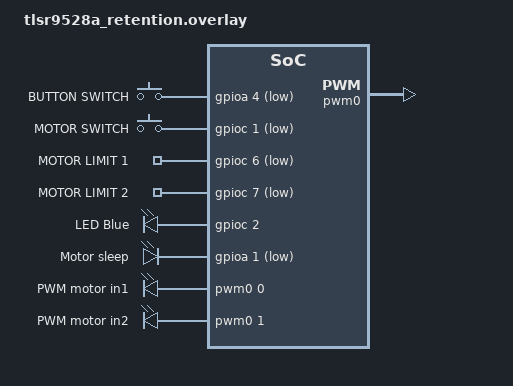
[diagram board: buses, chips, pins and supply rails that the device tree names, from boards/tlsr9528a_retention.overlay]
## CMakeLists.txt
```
#
#    Copyright (c) 2022-2026 Project CHIP Authors
#
#    Licensed under the Apache License, Version 2.0 (the "License");
#    you may not use this file except in compliance with the License.
#    You may obtain a copy of the License at
#
#        http://www.apache.org/licenses/LICENSE-2.0
#
#    Unless required by applicable law or agreed to in writing, software
#    distributed under the License is distributed on an "AS IS" BASIS,
#    WITHOUT WARRANTIES OR CONDITIONS OF ANY KIND, either express or implied.
#    See the License for the specific language governing permissions and
#    limitations under the License.
#

cmake_minimum_required(VERSION 3.20)

get_filename_component(CHIP_ROOT ${CMAKE_CURRENT_SOURCE_DIR}/third_party/connectedhomeip REALPATH)
get_filename_component(TELINK_COMMON ${CHIP_ROOT}/examples/platform/telink REALPATH)
get_filename_component(GEN_DIR ${CHIP_ROOT}/zzz_generated/ REALPATH)

include(${TELINK_COMMON}/common.cmake)
include(${CHIP_ROOT}/config/telink/app/enable-gnu-std.cmake)
include(${CHIP_ROOT}/src/app/chip_data_model.cmake)

project(chip-telink-light-switch-example)

target_include_directories(app PRIVATE
                           include
                           ${GEN_DIR}/app-common
                           ${GEN_DIR}/light-switch-app
                           ${TELINK_COMMON}/common/include
                           ${TELINK_COMMON}/util/include
                           ${TELINK_COMMON}/app/include
                           ${TELINK_COMMON}/zephyr_ext)

target_sources(app PRIVATE
               src/AppTask.cpp
               src/ZclCallbacks.cpp
               src/binding-handler.cpp
               ${CHIP_ROOT}/src/app/persistence/DeferredAttributePersistenceProvider.cpp
               ${TELINK_COMMON}/common/src/mainCommon.cpp
               ${TELINK_COMMON}/common/src/AppTaskCommon.cpp
               ${TELINK_COMMON}/util/src/LEDManager.cpp
               ${TELINK_COMMON}/util/src/ButtonManager.cpp
               ${TELINK_COMMON}/util/src/ThreadUtil.cpp
               ${TELINK_COMMON}/util/src/PWMManager.cpp
               ${TELINK_COMMON}/zephyr_ext/zephyr_key_matrix.c
               ${TELINK_COMMON}/zephyr_ext/zephyr_key_pool.c
               ${TELINK_COMMON}/zephyr_ext/zephyr_led_pool.c
               ${TELINK_COMMON}/zephyr_ext/zephyr_pwm_pool.c
               ${TELINK_COMMON}/zephyr_ext/zephyr_ws2812.c
               ${TELINK_COMMON}/zephyr_ext/zephyr_pm_observer.c)

chip_configure_data_model(app
    ZAP_FILE ${CMAKE_CURRENT_SOURCE_DIR}/../light-switch-common/light-switch-app.zap
)

if(CONFIG_BOOTLOADER_MCUBOOT)
  target_sources(app PRIVATE ${TELINK_COMMON}/util/src/OTAUtil.cpp)
endif()

if (CONFIG_CHIP_PW_RPC)
  include(${TELINK_COMMON}/Rpc.cmake)
endif(CONFIG_CHIP_PW_RPC)

if(CONFIG_OPENTHREAD_SNTP_CLIENT)
  target_sources(app PRIVATE
                   ${TELINK_COMMON}/util/src/ThreadTimeSync.cpp)
endif()
```

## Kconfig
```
#
#    Copyright (c) 2023 Project CHIP Authors
#
#    Licensed under the Apache License, Version 2.0 (the "License");
#    you may not use this file except in compliance with the License.
#    You may obtain a copy of the License at
#
#        http://www.apache.org/licenses/LICENSE-2.0
#
#    Unless required by applicable law or agreed to in writing, software
#    distributed under the License is distributed on an "AS IS" BASIS,
#    WITHOUT WARRANTIES OR CONDITIONS OF ANY KIND, either express or implied.
#    See the License for the specific language governing permissions and
#    limitations under the License.
#
mainmenu "Matter Telink Light Switch Example Application"

config CHIP_ENABLE_GROUPCAST
	bool
	default y

rsource "../../../config/telink/chip-module/Kconfig.defaults"
source "Kconfig.zephyr"
```

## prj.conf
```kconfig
#
#    Copyright (c) 2022-2026 Project CHIP Authors
#
#    Licensed under the Apache License, Version 2.0 (the "License");
#    you may not use this file except in compliance with the License.
#    You may obtain a copy of the License at
#
#        http://www.apache.org/licenses/LICENSE-2.0
#
#    Unless required by applicable law or agreed to in writing, software
#    distributed under the License is distributed on an "AS IS" BASIS,
#    WITHOUT WARRANTIES OR CONDITIONS OF ANY KIND, either express or implied.
#    See the License for the specific language governing permissions and
#    limitations under the License.
#

# This sample uses Kconfig.defaults to set options common for all
# samples. This file should contain only options specific for this sample
# or overrides of default values.

# Enable CHIP
CONFIG_CHIP=y
CONFIG_STD_CPP20=y

# 32772 == 0x8004 (example light-switch-app)
CONFIG_CHIP_DEVICE_PRODUCT_ID=32772

# Bluetooth Low Energy configuration
CONFIG_BT_DEVICE_NAME="TelinkSwitch"

# Disable Matter OTA DFU
CONFIG_CHIP_OTA_REQUESTOR=n
CONFIG_CHIP_DFU_OVER_BT_SMP=n
CONFIG_CHIP_DFU_OVER_BT_SMP_BUILD=n
CONFIG_CHIP_DEVICE_SOFTWARE_VERSION=1

# Disable CHIP shell support
CONFIG_CHIP_LIB_SHELL=n

# Disable factory data support
CONFIG_CHIP_FACTORY_DATA=n
CONFIG_CHIP_FACTORY_DATA_BUILD=n
CONFIG_CHIP_FACTORY_DATA_MERGE_WITH_FIRMWARE=n
CONFIG_CHIP_CERTIFICATION_DECLARATION_STORAGE=n

# Enable Power Management
CONFIG_PM=y
# Enable ADC
CONFIG_ADC=y

# compress ota
CONFIG_COMPRESS_LZMA=n
CONFIG_LZMA=n

# ICD SETTING INFO
CONFIG_CHIP_ICD_SLOW_POLL_INTERVAL=7500
CONFIG_CHIP_ICD_FAST_POLLING_INTERVAL=200
CONFIG_CHIP_ICD_ACTIVE_MODE_THRESHOLD=300
CONFIG_CHIP_ICD_IDLE_MODE_DURATION=900

# Secure programming requires CONFIG_CHIP_FACTORY_DATA and
# CONFIG_CHIP_CERTIFICATION_DECLARATION_STORAGE to be enabled.
CONFIG_SECURE_PROGRAMMING=n

# Enable CHIP-ID via ble
CONFIG_EXPOSE_CHIP_ID_VIA_BLE=n

# Enable Deferred Store Attribute
CONFIG_DEFERRED_ATTR_STORAGE=n
```

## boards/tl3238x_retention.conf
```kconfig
# Disable Matter OTA DFU
CONFIG_CHIP_OTA_REQUESTOR=n
CONFIG_CHIP_DFU_OVER_BT_SMP=n
CONFIG_CHIP_DFU_OVER_BT_SMP_BUILD=n

# Enable ADC
CONFIG_ADC=y

# LZMA compression library support
CONFIG_LZMA=n
# Disable Telink-specific LZMA firmware decompression for bootloader
CONFIG_COMPRESS_LZMA=n
```

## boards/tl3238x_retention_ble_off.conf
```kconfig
# Fully disable BLE after Matter commissioning (one-way, RF handed to 802.15.4).
# Re-commissioning requires factory reset (device reboots).
CONFIG_CHIP_CONCURRENT_BLE_OFF_AFTER_COMMISSIONING=y
```

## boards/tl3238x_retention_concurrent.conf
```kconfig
# TL3238X Retention Concurrent Mode (Matter over Thread + BLE coexistence)
# This config enables BLE + 802.15.4 coexistence mode.
# Usage:
#   west build -p -b tl3238x_retention -d build_tl3238x_retention_concurrent -- \
#   -DCONF_FILE="prj.conf boards/tl3238x_retention_concurrent.conf" > build_tl3238x_retention_concurrent.log

# Enable concurrent mode (Matter over Thread + BLE)
CONFIG_CHIP_CONCURRENT_MODE=y
CONFIG_IEEE802154_TLX_BLE_COEXIST=y

# CONFIG_CHIP_DEVICE_SERIAL_NUMBER="TelinkLightSwitch-tl3238c"

# Disable Matter OTA DFU
CONFIG_CHIP_OTA_REQUESTOR=n
CONFIG_CHIP_DFU_OVER_BT_SMP=n
CONFIG_CHIP_DFU_OVER_BT_SMP_BUILD=n

# LZMA compression library support
# Keep LZMA library enabled for potential general compression needs
CONFIG_LZMA=n
# Disable Telink-specific LZMA firmware decompression for bootloader
CONFIG_COMPRESS_LZMA=n

# Enable ADC
CONFIG_ADC=y

#matter switch mode
# config NORMAL_MODE    0 independent matter mode
# ACTION_DUAL_MODE      1 matter action switch mode ,such as by button
# AUTO_SWITCH_DUAL_MODE 2 matter auto-switch mode ,such as by scan QR code.
CONFIG_DUAL_MODE=0
```

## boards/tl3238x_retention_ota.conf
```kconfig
# CONFIG_CHIP_DEVICE_SERIAL_NUMBER="TelinkLightSwitch-tl3238c"

# Disable Matter OTA DFU
CONFIG_CHIP_OTA_REQUESTOR=y
CONFIG_CHIP_DFU_OVER_BT_SMP=y
CONFIG_CHIP_DFU_OVER_BT_SMP_BUILD=y

# Enable ADC
CONFIG_ADC=y

# LZMA compression library support
CONFIG_LZMA=n
# Disable Telink-specific LZMA firmware decompression for bootloader
CONFIG_COMPRESS_LZMA=n

#matter switch mode
# config NORMAL_MODE    0 independent matter mode
# ACTION_DUAL_MODE      1 matter action switch mode ,such as by button
# AUTO_SWITCH_DUAL_MODE 2 matter auto-switch mode ,such as by scan QR code.
CONFIG_DUAL_MODE=0
```

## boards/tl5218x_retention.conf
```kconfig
# CONFIG_CHIP_DEVICE_SERIAL_NUMBER="TelinkLightSwitch-tl5218x"

# Disable Matter OTA DFU
CONFIG_CHIP_OTA_REQUESTOR=n
CONFIG_CHIP_DFU_OVER_BT_SMP=n
CONFIG_CHIP_DFU_OVER_BT_SMP_BUILD=n

# Enable ADC
CONFIG_ADC=n

# LZMA compression library support
CONFIG_LZMA=n
# Disable Telink-specific LZMA firmware decompression for bootloader
CONFIG_COMPRESS_LZMA=n

#matter switch mode
# config NORMAL_MODE    0 independent matter mode
# ACTION_DUAL_MODE      1 matter action switch mode ,such as by button
# AUTO_SWITCH_DUAL_MODE 2 matter auto-switch mode ,such as by scan QR code.
CONFIG_DUAL_MODE=0
```

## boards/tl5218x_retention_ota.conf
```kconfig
# CONFIG_CHIP_DEVICE_SERIAL_NUMBER="TelinkLightSwitch-tl5218x"

# Disable Matter OTA DFU
CONFIG_CHIP_OTA_REQUESTOR=y
CONFIG_CHIP_DFU_OVER_BT_SMP=y
CONFIG_CHIP_DFU_OVER_BT_SMP_BUILD=y

# Enable ADC
CONFIG_ADC=n

# LZMA compression library support
CONFIG_LZMA=n
# Disable Telink-specific LZMA firmware decompression for bootloader
CONFIG_COMPRESS_LZMA=n

#matter switch mode
# config NORMAL_MODE    0 independent matter mode
# ACTION_DUAL_MODE      1 matter action switch mode ,such as by button
# AUTO_SWITCH_DUAL_MODE 2 matter auto-switch mode ,such as by scan QR code.
CONFIG_DUAL_MODE=0
```

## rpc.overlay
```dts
#
#    Copyright (c) 2023 Project CHIP Authors
#
#    Licensed under the Apache License, Version 2.0 (the "License");
#    you may not use this file except in compliance with the License.
#    You may obtain a copy of the License at
#
#        http://www.apache.org/licenses/LICENSE-2.0
#
#    Unless required by applicable law or agreed to in writing, software
#    distributed under the License is distributed on an "AS IS" BASIS,
#    WITHOUT WARRANTIES OR CONDITIONS OF ANY KIND, either express or implied.
#    See the License for the specific language governing permissions and
#    limitations under the License.
#

# This file should be used as a configuration overlay to build Pigweed RPCs to
# light-switch-app.

# Enable Pigweed RPC
CONFIG_CHIP_PW_RPC=y

# Add support for C++17 to build Pigweed components
CONFIG_STD_CPP14=n
CONFIG_STD_CPP20=y

# Add support for Zephyr console component to use it for Pigweed console purposes
CONFIG_CONSOLE_SUBSYS=y
CONFIG_CONSOLE_GETCHAR=y
CONFIG_CONSOLE_PUTCHAR_BUFSIZE=256

# Disable features which may interfere with Pigweed HDLC transport
CONFIG_SHELL=n
CONFIG_OPENTHREAD_SHELL=n
CONFIG_BOOT_BANNER=n

# Configure Zephyr logger with defaults backends disabled as the app provides its own,
# based on Pigweed HDLC.
CONFIG_LOG=y
CONFIG_LOG_MODE_MINIMAL=n
CONFIG_LOG_MODE_IMMEDIATE=y
CONFIG_LOG_BACKEND_UART=n
CONFIG_LOG_BACKEND_RTT=n
CONFIG_LOG_OUTPUT=y

# Increase zephyr tty rx buffer
CONFIG_CONSOLE_GETCHAR_BUFSIZE=128
```

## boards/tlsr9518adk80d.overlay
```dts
&cpu0 {
	clock-frequency = <32000000>;
};
```

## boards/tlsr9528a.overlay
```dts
/ {
	aliases {
		/delete-property/ sw1;
		/delete-property/ sw2;
		/delete-property/ sw3;

		/delete-property/ pwm-led0;
		/delete-property/ pwm-led1;
		/delete-property/ pwm-led2;
		/delete-property/ pwm-led3;

		led0 = &led_blue;
		sw1 = &key_switch;
		motorsleep = &motor_sleep;
		motordetect = &motor_detect;
		pwmmotorin1 = &pwm_motor_1;
		pwmmotorin2 = &pwm_motor_2;
	};

	keys {
		/delete-node/ button_2;
		/delete-node/ button_3;
		/delete-node/ button_4;

		key_switch: button_switch {
			label = "BUTTON SWITCH";
			gpios = <&gpioa 4 (GPIO_ACTIVE_LOW | GPIO_PULL_UP)>;
		};
		motor_detect: motor_switch {
			label = "MOTOR SWITCH";
			gpios = <&gpioc 1 (GPIO_ACTIVE_LOW | GPIO_PULL_UP)>;
		};
	};

	leds {
		compatible = "gpio-leds";
		/delete-node/ led_blue;
		/delete-node/ led_green;
		/delete-node/ led_white;
		/delete-node/ led_red;

		led_blue: led_0 {
			gpios = <&gpioc 2 GPIO_ACTIVE_HIGH>;
			label = "LED Blue";
		};
		motor_sleep: io_sleep {
			gpios = <&gpioa 1 GPIO_ACTIVE_LOW>;
			label = "Motor sleep";
		};
	};

	pwm_leds {
		compatible = "pwm-leds";
		/delete-node/ pwm_led_0;
		/delete-node/ pwm_led_1;
		/delete-node/ pwm_led_2;
		/delete-node/ pwm_led_3;
		pwm_motor_1: pwm_in_0 {
			pwms = <&pwm0 0 PWM_MSEC(20) PWM_POLARITY_NORMAL>;
			label = "PWM motor in1";
		};
		pwm_motor_2: pwm_in_1 {
			pwms = <&pwm0 1 PWM_MSEC(20) PWM_POLARITY_NORMAL>;
			label = "PWM motor in2";
		};
    };
};

&pinctrl {
	/delete-node/ pwm_ch0_pd0_default;
	/delete-node/ pwm_ch1_pd1_default;
	/delete-node/ pwm_ch2_pe2_default;
	/delete-node/ pwm_ch3_pe0_default;

	pwm_ch0_pa2_default: pwm_ch0_pa2_default {
		pinmux = <B9x_PINMUX_SET(B9x_PORT_A, B9x_PIN_2, B92_FUNC_PWM0)>;
	};
	pwm_ch1_pa3_default: pwm_ch1_pa3_default {
		pinmux = <B9x_PINMUX_SET(B9x_PORT_A, B9x_PIN_3, B92_FUNC_PWM1)>;
	};
};

&pwm0 {
	pinctrl-0 = <&pwm_ch0_pa2_default &pwm_ch1_pa3_default>;
};

&gpioc {
	interrupts = <39 1>;
	status = "okay";
};

&gpioa {
	interrupts = <38 1>;
	status = "okay";
};

&gpiof {
	status = "disabled";
};
```

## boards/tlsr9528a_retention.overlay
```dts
/ {
	aliases {
		/delete-property/ sw1;
		/delete-property/ sw2;
		/delete-property/ sw3;
		led0 = &led_blue;
		sw1 = &key_switch;
		motorsleep = &motor_sleep;
		motordetect = &motor_detect;
		motorlimited1 = &motor_limited_1;
		motorlimited2 = &motor_limited_2;
		pwmmotorin1 = &pwm_motor_1;
		pwmmotorin2 = &pwm_motor_2;
	};

	keys {
		/delete-node/ button_2;
		/delete-node/ button_3;
		/delete-node/ button_4;

		key_switch: button_switch {
			label = "BUTTON SWITCH";
			gpios = <&gpioa 4 (GPIO_ACTIVE_LOW | GPIO_PULL_UP)>;
		};
		motor_detect: motor_switch {
			label = "MOTOR SWITCH";
			gpios = <&gpioc 1 (GPIO_ACTIVE_LOW| GPIO_PULL_DOWN)>;
		};
		motor_limited_1: motor_stop_1 {
			label = "MOTOR LIMIT 1";
			gpios = <&gpioc 6 (GPIO_ACTIVE_LOW)>;
		};
		motor_limited_2: motor_stop_2 {
			label = "MOTOR LIMIT 2";
			gpios = <&gpioc 7 (GPIO_ACTIVE_LOW)>;
		};
	};

	leds {
		compatible = "gpio-leds";
		led_blue: led_0 {
			gpios = <&gpioc 2 GPIO_ACTIVE_HIGH>;
			label = "LED Blue";
		};
		motor_sleep: io_sleep {
			gpios = <&gpioa 1 GPIO_ACTIVE_LOW>;
			label = "Motor sleep";
		};
	};

	pwm_leds {
		compatible = "pwm-leds";
		pwm_motor_1: pwm_in_0 {
			pwms = <&pwm0 0 PWM_MSEC(20) PWM_POLARITY_NORMAL>;
			label = "PWM motor in1";
		};
		pwm_motor_2: pwm_in_1 {
			pwms = <&pwm0 1 PWM_MSEC(20) PWM_POLARITY_NORMAL>;
			label = "PWM motor in2";
		};
    };
};

&pinctrl {
	pwm_ch0_pa2_default: pwm_ch0_pa2_default {
		pinmux = <B9x_PINMUX_SET(B9x_PORT_A, B9x_PIN_2, B92_FUNC_PWM0)>;
	};
	pwm_ch1_pa3_default: pwm_ch1_pa3_default {
		pinmux = <B9x_PINMUX_SET(B9x_PORT_A, B9x_PIN_3, B92_FUNC_PWM1)>;
	};
};

&pwm0 {
	status = "okay";
	pinctrl-0 = <&pwm_ch0_pa2_default &pwm_ch1_pa3_default>;
};

&gpioc {
	interrupts = <39 1>;
	status = "okay";
};

&gpioa {
	interrupts = <38 1>;
	status = "okay";
};

&gpiof {
	status = "disabled";
};
```

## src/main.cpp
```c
/*
 *
 *    Copyright (c) 2022 Project CHIP Authors
 *    All rights reserved.
 *
 *    Licensed under the Apache License, Version 2.0 (the "License");
 *    you may not use this file except in compliance with the License.
 *    You may obtain a copy of the License at
 *
 *        http://www.apache.org/licenses/LICENSE-2.0
 *
 *    Unless required by applicable law or agreed to in writing, software
 *    distributed under the License is distributed on an "AS IS" BASIS,
 *    WITHOUT WARRANTIES OR CONDITIONS OF ANY KIND, either express or implied.
 *    See the License for the specific language governing permissions and
 *    limitations under the License.
 */

#include "AppTask.h"

#include <lib/support/CHIPMem.h>
#include <platform/CHIPDeviceLayer.h>

#include <zephyr/kernel.h>

LOG_MODULE_REGISTER(app, CONFIG_CHIP_APP_LOG_LEVEL);

using namespace ::chip;
using namespace ::chip::Inet;
using namespace ::chip::DeviceLayer;

int main(void)
{
    CHIP_ERROR err = CHIP_NO_ERROR;

    err = chip::Platform::MemoryInit();
    if (err != CHIP_NO_ERROR)
    {
        LOG_ERR("MemoryInit fail");
        goto exit;
    }

    err = PlatformMgr().InitChipStack();
    if (err != CHIP_NO_ERROR)
    {
        LOG_ERR("InitChipStack fail");
        goto exit;
    }

    err = PlatformMgr().StartEventLoopTask();
    if (err != CHIP_NO_ERROR)
    {
        LOG_ERR("StartEventLoopTask fail");
        goto exit;
    }

    err = ThreadStackMgr().InitThreadStack();
    if (err != CHIP_NO_ERROR)
    {
        LOG_ERR("InitThreadStack fail");
        goto exit;
    }

#ifdef CONFIG_OPENTHREAD_MTD_SED
    err = ConnectivityMgr().SetThreadDeviceType(ConnectivityManager::kThreadDeviceType_SleepyEndDevice);
#elif CONFIG_OPENTHREAD_MTD
    err = ConnectivityMgr().SetThreadDeviceType(ConnectivityManager::kThreadDeviceType_MinimalEndDevice);
#else
    err = ConnectivityMgr().SetThreadDeviceType(ConnectivityManager::kThreadDeviceType_Router);
#endif
    if (err != CHIP_NO_ERROR)
    {
        LOG_ERR("SetThreadDeviceType fail");
        goto exit;
    }

    err = GetAppTask().StartApp();

exit:
    LOG_ERR("Exit err %" CHIP_ERROR_FORMAT, err.Format());
    return (err == CHIP_NO_ERROR) ? EXIT_SUCCESS : EXIT_FAILURE;
}
```

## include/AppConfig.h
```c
/*
 *
 *    Copyright (c) 2022-2023 Project CHIP Authors
 *    All rights reserved.
 *
 *    Licensed under the Apache License, Version 2.0 (the "License");
 *    you may not use this file except in compliance with the License.
 *    You may obtain a copy of the License at
 *
 *        http://www.apache.org/licenses/LICENSE-2.0
 *
 *    Unless required by applicable law or agreed to in writing, software
 *    distributed under the License is distributed on an "AS IS" BASIS,
 *    WITHOUT WARRANTIES OR CONDITIONS OF ANY KIND, either express or implied.
 *    See the License for the specific language governing permissions and
 *    limitations under the License.
 */

#pragma once

// ---- Light Switch Example App Config ----

#define APP_SET_NETWORK_COMM_ENDPOINT_SEC 0
```

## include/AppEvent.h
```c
/*
 *
 *    Copyright (c) 2022 Project CHIP Authors
 *    All rights reserved.
 *
 *    Licensed under the Apache License, Version 2.0 (the "License");
 *    you may not use this file except in compliance with the License.
 *    You may obtain a copy of the License at
 *
 *        http://www.apache.org/licenses/LICENSE-2.0
 *
 *    Unless required by applicable law or agreed to in writing, software
 *    distributed under the License is distributed on an "AS IS" BASIS,
 *    WITHOUT WARRANTIES OR CONDITIONS OF ANY KIND, either express or implied.
 *    See the License for the specific language governing permissions and
 *    limitations under the License.
 */

#pragma once

#include <cstdint>

struct AppEvent;
typedef void (*EventHandler)(AppEvent *);

class LEDWidget;

struct AppEvent
{
    enum AppEventTypes
    {
        kEventType_Button = 0,
        kEventType_Timer,
        kEventType_UpdateLedState,
        kEventType_IdentifyStart,
        kEventType_IdentifyStop,
        kEventType_Lighting,
        kEventType_Install,
    };

    uint16_t Type;

    union
    {
        struct
        {
            uint8_t Action;
        } ButtonEvent;
        struct
        {
            void * Context;
        } TimerEvent;
        struct
        {
            uint8_t Action;
            int32_t Actor;
        } LightingEvent;
        struct
        {
            LEDWidget * LedWidget;
        } UpdateLedStateEvent;
    };

    EventHandler Handler;
};
```

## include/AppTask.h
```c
/*
 *
 *    Copyright (c) 2022-2023 Project CHIP Authors
 *    All rights reserved.
 *
 *    Licensed under the Apache License, Version 2.0 (the "License");
 *    you may not use this file except in compliance with the License.
 *    You may obtain a copy of the License at
 *
 *        http://www.apache.org/licenses/LICENSE-2.0
 *
 *    Unless required by applicable law or agreed to in writing, software
 *    distributed under the License is distributed on an "AS IS" BASIS,
 *    WITHOUT WARRANTIES OR CONDITIONS OF ANY KIND, either express or implied.
 *    See the License for the specific language governing permissions and
 *    limitations under the License.
 */

#pragma once

#include "AppTaskCommon.h"

class AppTask : public AppTaskCommon
{
public:
    void UpdateClusterState();

private:
    friend AppTask & GetAppTask(void);
    friend class AppTaskCommon;

    CHIP_ERROR Init(void);

    static void SwitchActionEventHandler(AppEvent * aEvent);

    static AppTask sAppTask;
};

inline AppTask & GetAppTask(void)
{
    return AppTask::sAppTask;
}
```

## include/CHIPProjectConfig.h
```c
/*
 *
 *    Copyright (c) 2022 Project CHIP Authors
 *    All rights reserved.
 *
 *    Licensed under the Apache License, Version 2.0 (the "License");
 *    you may not use this file except in compliance with the License.
 *    You may obtain a copy of the License at
 *
 *        http://www.apache.org/licenses/LICENSE-2.0
 *
 *    Unless required by applicable law or agreed to in writing, software
 *    distributed under the License is distributed on an "AS IS" BASIS,
 *    WITHOUT WARRANTIES OR CONDITIONS OF ANY KIND, either express or implied.
 *    See the License for the specific language governing permissions and
 *    limitations under the License.
 */

/**
 *    @file
 *          Example project configuration file for CHIP.
 *
 *          This is a place to put application or project-specific overrides
 *          to the default configuration values for general CHIP features.
 *
 */

#pragma once

// Use a default pairing code if one hasn't been provisioned in flash.
#define CHIP_DEVICE_CONFIG_USE_TEST_SETUP_PIN_CODE 20202021
#define CHIP_DEVICE_CONFIG_USE_TEST_SETUP_DISCRIMINATOR 0xF00

/**
 * CHIP_SYSTEM_CONFIG_PACKETBUFFER_POOL_SIZE
 *
 * Reduce packet buffer pool size to 8 (default 15) to reduce ram consumption
 */
#define CHIP_SYSTEM_CONFIG_PACKETBUFFER_POOL_SIZE 0
```

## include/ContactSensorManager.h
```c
/*
 *
 *    Copyright (c) 2022 Project CHIP Authors
 *    All rights reserved.
 *
 *    Licensed under the Apache License, Version 2.0 (the "License");
 *    you may not use this file except in compliance with the License.
 *    You may obtain a copy of the License at
 *
 *        http://www.apache.org/licenses/LICENSE-2.0
 *
 *    Unless required by applicable law or agreed to in writing, software
 *    distributed under the License is distributed on an "AS IS" BASIS,
 *    WITHOUT WARRANTIES OR CONDITIONS OF ANY KIND, either express or implied.
 *    See the License for the specific language governing permissions and
 *    limitations under the License.
 */

#pragma once

#include <stdbool.h>
#include <stdint.h>

#include "AppEventCommon.h"

class ContactSensorManager
{
public:
    enum class Action : uint8_t
    {
        kSignalDetected = 0,
        kSignalLost,
        kInvalid
    };

    enum class State : uint8_t
    {
        kContactClosed = 0,
        kContactOpened,
        kInvalid
    };

    int Init();
    bool IsContactClosed();
    void InitiateAction(Action aAction);
    void setstate(State astatus);

    typedef void (*CallbackStateChanged)(State aState);
    void SetCallback(CallbackStateChanged aCallbackStateChanged);

    static void HandleAction(AppEvent * aEvent);

private:
    friend ContactSensorManager & ContactSensorMgr(void);
    State mState;
    CallbackStateChanged mCallbackStateChanged;
    static ContactSensorManager sContactSensor;
};

inline ContactSensorManager & ContactSensorMgr(void)
{
    return ContactSensorManager::sContactSensor;
}
```

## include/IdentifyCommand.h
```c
/*
 *
 *    Copyright (c) 2024 Project CHIP Authors
 *    All rights reserved.
 *
 *    Licensed under the Apache License, Version 2.0 (the "License");
 *    you may not use this file except in compliance with the License.
 *    You may obtain a copy of the License at
 *
 *        http://www.apache.org/licenses/LICENSE-2.0
 *
 *    Unless required by applicable law or agreed to in writing, software
 *    distributed under the License is distributed on an "AS IS" BASIS,
 *    WITHOUT WARRANTIES OR CONDITIONS OF ANY KIND, either express or implied.
 *    See the License for the specific language governing permissions and
 *    limitations under the License.
 */

#include "controller/InvokeInteraction.h"
#include "controller/ReadInteraction.h"
#include <app/clusters/bindings/BindingManager.h>

#if defined(CONFIG_CHIP_LIB_SHELL)
#include "lib/shell/Engine.h"
#include "lib/shell/commands/Help.h"
#endif // CONFIG_CHIP_LIB_SHELL

using namespace chip;
using namespace chip::app;
using namespace chip::app::Clusters;

#if defined(CONFIG_CHIP_LIB_SHELL)
using Shell::Engine;
using Shell::shell_command_t;
using Shell::streamer_get;
using Shell::streamer_printf;

Engine sShellSwitchIdentifySubCommands;
Engine sShellSwitchIdentifyReadSubCommands;
Engine sShellSwitchGroupsIdentifySubCommands;
#endif // CONFIG_CHIP_LIB_SHELL

void ProcessIdentifyUnicastBindingRead(BindingCommandData * data, const Binding::TableEntry & binding,
                                       OperationalDeviceProxy * peer_device)
{
    auto onSuccess = [](const ConcreteDataAttributePath & attributePath, const auto & dataResponse) {
        ChipLogProgress(NotSpecified, "Read Identify attribute succeeds");
    };

    auto onFailure = [](const ConcreteDataAttributePath * attributePath, CHIP_ERROR error) {
        ChipLogError(NotSpecified, "Read Identify attribute failed: %" CHIP_ERROR_FORMAT, error.Format());
    };

    VerifyOrDie(peer_device != nullptr && peer_device->ConnectionReady());

    switch (data->attributeId)
    {
    case Clusters::Identify::Attributes::AttributeList::Id:
        LogErrorOnFailure(Controller::ReadAttribute<Clusters::Identify::Attributes::AttributeList::TypeInfo>(
            peer_device->GetExchangeManager(), peer_device->GetSecureSession().Value(), binding.remote, onSuccess, onFailure));
        break;

    case Clusters::Identify::Attributes::IdentifyTime::Id:
        LogErrorOnFailure(Controller::ReadAttribute<Clusters::Identify::Attributes::IdentifyTime::TypeInfo>(
            peer_device->GetExchangeManager(), peer_device->GetSecureSession().Value(), binding.remote, onSuccess, onFailure));
        break;

    case Clusters::Identify::Attributes::IdentifyType::Id:
        LogErrorOnFailure(Controller::ReadAttribute<Clusters::Identify::Attributes::IdentifyType::TypeInfo>(
            peer_device->GetExchangeManager(), peer_device->GetSecureSession().Value(), binding.remote, onSuccess, onFailure));
        break;
    }
}

void ProcessIdentifyUnicastBindingCommand(BindingCommandData * data, const Binding::TableEntry & binding,
                                          OperationalDeviceProxy * peer_device)
{
    auto onSuccess = [](const ConcreteCommandPath & commandPath, const StatusIB & status, const auto & dataResponse) {
        ChipLogProgress(NotSpecified, "Identify command succeeds");
    };

    auto onFailure = [](CHIP_ERROR error) {
        ChipLogError(NotSpecified, "Identify command failed: %" CHIP_ERROR_FORMAT, error.Format());
    };

    VerifyOrDie(peer_device != nullptr && peer_device->ConnectionReady());

    Clusters::Identify::Commands::Identify::Type identifyCommand;
    Clusters::Identify::Commands::TriggerEffect::Type triggerEffectCommand;

    switch (data->commandId)
    {
    case Clusters::Identify::Commands::Identify::Id:
        identifyCommand.identifyTime = static_cast<uint16_t>(data->args[0]);
        LogErrorOnFailure(Controller::InvokeCommandRequest(peer_device->GetExchangeManager(),
                                                           peer_device->GetSecureSession().Value(), binding.remote, identifyCommand,
                                                           onSuccess, onFailure));
        break;

    case Clusters::Identify::Commands::TriggerEffect::Id:
        triggerEffectCommand.effectIdentifier = static_cast<Clusters::Identify::EffectIdentifierEnum>(data->args[0]);
        triggerEffectCommand.effectVariant    = static_cast<Clusters::Identify::EffectVariantEnum>(data->args[1]);
        LogErrorOnFailure(Controller::InvokeCommandRequest(peer_device->GetExchangeManager(),
                                                           peer_device->GetSecureSession().Value(), binding.remote,
                                                           triggerEffectCommand, onSuccess, onFailure));
        break;
    }
}

void ProcessIdentifyGroupBindingCommand(BindingCommandData * data, const Binding::TableEntry & binding)
{
    Messaging::ExchangeManager & exchangeMgr = Server::GetInstance().GetExchangeManager();

    Clusters::Identify::Commands::Identify::Type identifyCommand;
    Clusters::Identify::Commands::TriggerEffect::Type triggerEffectCommand;

    switch (data->commandId)
    {
    case Clusters::Identify::Commands::Identify::Id:
        identifyCommand.identifyTime = static_cast<uint16_t>(data->args[0]);
        LogErrorOnFailure(
            Controller::InvokeGroupCommandRequest(&exchangeMgr, binding.fabricIndex, binding.groupId, identifyCommand));
        break;

    case Clusters::Identify::Commands::TriggerEffect::Id:
        triggerEffectCommand.effectIdentifier = static_cast<Clusters::Identify::EffectIdentifierEnum>(data->args[0]);
        triggerEffectCommand.effectVariant    = static_cast<Clusters::Identify::EffectVariantEnum>(data->args[1]);
        LogErrorOnFailure(
            Controller::InvokeGroupCommandRequest(&exchangeMgr, binding.fabricIndex, binding.groupId, triggerEffectCommand));
        break;
    }
}

#if defined(CONFIG_CHIP_LIB_SHELL)
/********************************************************
 * Identify switch shell functions
 *********************************************************/

CHIP_ERROR IdentifyHelpHandler(int argc, char ** argv)
{
    sShellSwitchIdentifySubCommands.ForEachCommand(Shell::PrintCommandHelp, nullptr);
    return CHIP_NO_ERROR;
}

CHIP_ERROR IdentifySwitchCommandHandler(int argc, char ** argv)
{
    if (argc == 0)
    {
        return IdentifyHelpHandler(argc, argv);
    }

    return sShellSwitchIdentifySubCommands.ExecCommand(argc, argv);
}

CHIP_ERROR IdentifyCommandHandler(int argc, char ** argv)
{
    BindingCommandData * data = Platform::New<BindingCommandData>();
    data->commandId           = Clusters::Identify::Commands::Identify::Id;
    data->clusterId           = Clusters::Identify::Id;
    data->args[0]             = atoi(argv[0]);

    LogErrorOnFailure(DeviceLayer::PlatformMgr().ScheduleWork(SwitchWorkerFunction, reinterpret_cast<intptr_t>(data)));
    return CHIP_NO_ERROR;
}

CHIP_ERROR TriggerEffectSwitchCommandHandler(int argc, char ** argv)
{
    BindingCommandData * data = Platform::New<BindingCommandData>();
    data->commandId           = Clusters::Identify::Commands::TriggerEffect::Id;
    data->clusterId           = Clusters::Identify::Id;
    data->args[0]             = atoi(argv[0]);
    data->args[1]             = atoi(argv[1]);

    LogErrorOnFailure(DeviceLayer::PlatformMgr().ScheduleWork(SwitchWorkerFunction, reinterpret_cast<intptr_t>(data)));
    return CHIP_NO_ERROR;
}

/********************************************************
 * Identify Read switch shell functions
 *********************************************************/

CHIP_ERROR IdentifyReadHelpHandler(int argc, char ** argv)
{
    sShellSwitchIdentifyReadSubCommands.ForEachCommand(Shell::PrintCommandHelp, nullptr);
    return CHIP_NO_ERROR;
}

CHIP_ERROR IdentifyRead(int argc, char ** argv)
{
    if (argc == 0)
    {
        return IdentifyReadHelpHandler(argc, argv);
    }

    return sShellSwitchIdentifyReadSubCommands.ExecCommand(argc, argv);
}

CHIP_ERROR IdentifyReadAttributeList(int argc, char ** argv)
{
    BindingCommandData * data = Platform::New<BindingCommandData>();
    data->attributeId         = Clusters::Identify::Attributes::AttributeList::Id;
    data->clusterId           = Clusters::Identify::Id;
    data->isReadAttribute     = true;

    LogErrorOnFailure(DeviceLayer::PlatformMgr().ScheduleWork(SwitchWorkerFunction, reinterpret_cast<intptr_t>(data)));
    return CHIP_NO_ERROR;
}

CHIP_ERROR IdentifyReadIdentifyTime(int argc, char ** argv)
{
    BindingCommandData * data = Platform::New<BindingCommandData>();
    data->attributeId         = Clusters::Identify::Attributes::IdentifyTime::Id;
    data->clusterId           = Clusters::Identify::Id;
    data->isReadAttribute     = true;

    LogErrorOnFailure(DeviceLayer::PlatformMgr().ScheduleWork(SwitchWorkerFunction, reinterpret_cast<intptr_t>(data)));
    return CHIP_NO_ERROR;
}

CHIP_ERROR IdentifyReadIdentifyType(int argc, char ** argv)
{
    BindingCommandData * data = Platform::New<BindingCommandData>();
    data->attributeId         = Clusters::Identify::Attributes::IdentifyType::Id;
    data->clusterId           = Clusters::Identify::Id;
    data->isReadAttribute     = true;

    LogErrorOnFailure(DeviceLayer::PlatformMgr().ScheduleWork(SwitchWorkerFunction, reinterpret_cast<intptr_t>(data)));
    return CHIP_NO_ERROR;
}

/********************************************************
 * Groups Identify switch shell functions
 *********************************************************/

CHIP_ERROR GroupsIdentifyHelpHandler(int argc, char ** argv)
{
    sShellSwitchGroupsIdentifySubCommands.ForEachCommand(Shell::PrintCommandHelp, nullptr);
    return CHIP_NO_ERROR;
}

CHIP_ERROR GroupsIdentifySwitchCommandHandler(int argc, char ** argv)
{
    if (argc == 0)
    {
        return GroupsIdentifyHelpHandler(argc, argv);
    }

    return sShellSwitchGroupsIdentifySubCommands.ExecCommand(argc, argv);
}

CHIP_ERROR GroupIdentifyCommandHandler(int argc, char ** argv)
{
    BindingCommandData * data = Platform::New<BindingCommandData>();
    data->commandId           = Clusters::Identify::Commands::Identify::Id;
    data->clusterId           = Clusters::Identify::Id;
    data->args[0]             = atoi(argv[0]);
    data->isGroup             = true;

    LogErrorOnFailure(DeviceLayer::PlatformMgr().ScheduleWork(SwitchWorkerFunction, reinterpret_cast<intptr_t>(data)));
    return CHIP_NO_ERROR;
}

CHIP_ERROR GroupTriggerEffectSwitchCommandHandler(int argc, char ** argv)
{
    BindingCommandData * data = Platform::New<BindingCommandData>();
    data->commandId           = Clusters::Identify::Commands::TriggerEffect::Id;
    data->clusterId           = Clusters::Identify::Id;
    data->args[0]             = atoi(argv[0]);
    data->args[1]             = atoi(argv[1]);
    data->isGroup             = true;

    LogErrorOnFailure(DeviceLayer::PlatformMgr().ScheduleWork(SwitchWorkerFunction, reinterpret_cast<intptr_t>(data)));
    return CHIP_NO_ERROR;
}
#endif // CONFIG_CHIP_LIB_SHELL
```

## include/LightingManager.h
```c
/*
 *
 *    Copyright (c) 2022 Project CHIP Authors
 *    All rights reserved.
 *
 *    Licensed under the Apache License, Version 2.0 (the "License");
 *    you may not use this file except in compliance with the License.
 *    You may obtain a copy of the License at
 *
 *        http://www.apache.org/licenses/LICENSE-2.0
 *
 *    Unless required by applicable law or agreed to in writing, software
 *    distributed under the License is distributed on an "AS IS" BASIS,
 *    WITHOUT WARRANTIES OR CONDITIONS OF ANY KIND, either express or implied.
 *    See the License for the specific language governing permissions and
 *    limitations under the License.
 */

#pragma once

#include "AppEvent.h"

#include <system/SystemError.h>

#include <cstdint>
#include <drivers/gpio.h>

class LightingManager
{
public:
    enum Action_t : uint8_t
    {
        ON_ACTION = 0,
        OFF_ACTION,
        LEVEL_ACTION,

        INVALID_ACTION
    };

    enum State_t : uint8_t
    {
        kState_On = 0,
        kState_Off,
    };

    using LightingCallback_fn = void (*)(Action_t, int32_t);

    CHIP_ERROR Init(const device * pwmDevice, uint32_t pwmChannel);
    bool IsTurnedOn() const { return mState == kState_On; }
    uint8_t GetLevel() const { return mLevel; }
    bool InitiateAction(Action_t aAction, int32_t aActor, uint8_t size, uint8_t * value);
    void SetCallbacks(LightingCallback_fn aActionInitiated_CB, LightingCallback_fn aActionCompleted_CB);

private:
    static constexpr uint8_t kMaxLevel = 255;

    friend LightingManager & LightingMgr();
    State_t mState;
    uint8_t mLevel;
    const device * mPwmDevice;
    uint32_t mPwmChannel;

    LightingCallback_fn mActionInitiated_CB;
    LightingCallback_fn mActionCompleted_CB;

    void Set(bool aOn);
    void SetLevel(uint8_t aLevel);
    void UpdateLight();

    static LightingManager sLight;
};

inline LightingManager & LightingMgr(void)
{
    return LightingManager::sLight;
}
```

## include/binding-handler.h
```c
/*
 *
 *    Copyright (c) 2020-2024 Project CHIP Authors
 *
 *    Licensed under the Apache License, Version 2.0 (the "License");
 *    you may not use this file except in compliance with the License.
 *    You may obtain a copy of the License at
 *
 *        http://www.apache.org/licenses/LICENSE-2.0
 *
 *    Unless required by applicable law or agreed to in writing, software
 *    distributed under the License is distributed on an "AS IS" BASIS,
 *    WITHOUT WARRANTIES OR CONDITIONS OF ANY KIND, either express or implied.
 *    See the License for the specific language governing permissions and
 *    limitations under the License.
 */
#pragma once

#include "app-common/zap-generated/ids/Clusters.h"
#include "app-common/zap-generated/ids/Commands.h"
#include "lib/core/CHIPError.h"

CHIP_ERROR InitBindingHandler();
bool IsGroupBound();
void SwitchWorkerFunction(intptr_t context);
void BindingWorkerFunction(intptr_t context);

struct BindingCommandData
{
    chip::AttributeId attributeId;
    chip::EndpointId localEndpointId = 1;
    chip::CommandId commandId;
    chip::ClusterId clusterId;
    bool isGroup         = false;
    bool isReadAttribute = false;
    uint32_t args[7];
};
```

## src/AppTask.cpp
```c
/*
 *
 *    Copyright (c) 2022-2023 Project CHIP Authors
 *    All rights reserved.
 *
 *    Licensed under the Apache License, Version 2.0 (the "License");
 *    you may not use this file except in compliance with the License.
 *    You may obtain a copy of the License at
 *
 *        http://www.apache.org/licenses/LICENSE-2.0
 *
 *    Unless required by applicable law or agreed to in writing, software
 *    distributed under the License is distributed on an "AS IS" BASIS,
 *    WITHOUT WARRANTIES OR CONDITIONS OF ANY KIND, either express or implied.
 *    See the License for the specific language governing permissions and
 *    limitations under the License.
 */

#include "AppTask.h"
#include "binding-handler.h"

LOG_MODULE_DECLARE(app, CONFIG_CHIP_APP_LOG_LEVEL);

AppTask AppTask::sAppTask;

CHIP_ERROR AppTask::Init(void)
{
    SetExampleButtonCallbacks(SwitchActionEventHandler);
    ReturnErrorOnFailure(InitCommonParts());

    // Configure Bindings
    CHIP_ERROR err = InitBindingHandler();
    if (err != CHIP_NO_ERROR)
    {
        LOG_ERR("InitBindingHandler fail");
        return err;
    }

    return CHIP_NO_ERROR;
}

void AppTask::SwitchActionEventHandler(AppEvent * aEvent)
{
    if (aEvent->Type == AppEvent::kEventType_Button)
    {
        LOG_INF("App button pressed");

        BindingCommandData * data = chip::Platform::New<BindingCommandData>();
        data->commandId           = chip::app::Clusters::OnOff::Commands::Toggle::Id;
        data->clusterId           = chip::app::Clusters::OnOff::Id;

        LogErrorOnFailure(PlatformMgr().ScheduleWork(SwitchWorkerFunction, reinterpret_cast<intptr_t>(data)));
    }
}

void AppTask::UpdateClusterState() {}
```

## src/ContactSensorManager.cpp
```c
/*
 *
 *    Copyright (c) 2022 Project CHIP Authors
 *    All rights reserved.
 *
 *    Licensed under the Apache License, Version 2.0 (the "License");
 *    you may not use this file except in compliance with the License.
 *    You may obtain a copy of the License at
 *
 *        http://www.apache.org/licenses/LICENSE-2.0
 *
 *    Unless required by applicable law or agreed to in writing, software
 *    distributed under the License is distributed on an "AS IS" BASIS,
 *    WITHOUT WARRANTIES OR CONDITIONS OF ANY KIND, either express or implied.
 *    See the License for the specific language governing permissions and
 *    limitations under the License.
 */

#include "ContactSensorManager.h"

#include "AppConfig.h"
#include "AppTask.h"

#include <lib/support/CodeUtils.h>

//#include <zephyr/drivers/pwm.h>
#include <zephyr/kernel.h>
#include <zephyr/logging/log.h>

LOG_MODULE_DECLARE(app, CONFIG_CHIP_APP_LOG_LEVEL);

ContactSensorManager ContactSensorManager::sContactSensor;

int ContactSensorManager::Init()
{
    int err = 0;

    mState                = State::kContactOpened;
    mCallbackStateChanged = nullptr;

    return err;
}

void ContactSensorManager::SetCallback(CallbackStateChanged aCallbackStateChanged)
{
    mCallbackStateChanged = aCallbackStateChanged;
}

bool ContactSensorManager::IsContactClosed()
{
    return mState == State::kContactClosed;
}

void ContactSensorManager::InitiateAction(Action aAction)
{
    AppEvent event;
    event.Type                = AppEvent::kEventType_Contact;
    event.ContactEvent.Action = static_cast<uint8_t>(aAction);
    event.Handler             = HandleAction;
    GetAppTask().PostEvent(&event);
}

void ContactSensorManager::HandleAction(AppEvent * aEvent)
{
    Action action = static_cast<Action>(aEvent->ContactEvent.Action);
    // Change current state based on action:
    // - if state is closed and action is signal lost, change state to opened
    // - if state is opened and action is signal detected, change state to closed
    // - else, the state/action combination does not change the state.
    if (sContactSensor.mState == State::kContactClosed && action == Action::kSignalLost)
    {
        sContactSensor.mState = State::kContactOpened;
    }
    else if (sContactSensor.mState == State::kContactOpened && action == Action::kSignalDetected)
    {
        sContactSensor.mState = State::kContactClosed;
    }

    if (sContactSensor.mCallbackStateChanged != nullptr)
    {
        sContactSensor.mCallbackStateChanged(sContactSensor.mState);
    }
    else
    {
        LOG_ERR("Callback for state change was not set. Please set an appropriate callback.");
    }
}

void ContactSensorManager::setstate(State astatus)
{
    if(astatus == State::kContactOpened)
    {
        sContactSensor.mState = State::kContactOpened;
    }
    else if(astatus == State::kContactClosed)
    {
        sContactSensor.mState = State::kContactClosed;
    }
    else
    {
        LOG_ERR("set error status.");
    }
    
    if (sContactSensor.mCallbackStateChanged != nullptr)
    {
        sContactSensor.mCallbackStateChanged(sContactSensor.mState);
    }
    else
    {
        LOG_ERR("Callback for state change was not set. Please set an appropriate callback.");
    }
}
```

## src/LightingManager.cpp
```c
/*
 *
 *    Copyright (c) 2022 Project CHIP Authors
 *    All rights reserved.
 *
 *    Licensed under the Apache License, Version 2.0 (the "License");
 *    you may not use this file except in compliance with the License.
 *    You may obtain a copy of the License at
 *
 *        http://www.apache.org/licenses/LICENSE-2.0
 *
 *    Unless required by applicable law or agreed to in writing, software
 *    distributed under the License is distributed on an "AS IS" BASIS,
 *    WITHOUT WARRANTIES OR CONDITIONS OF ANY KIND, either express or implied.
 *    See the License for the specific language governing permissions and
 *    limitations under the License.
 */

#include "LightingManager.h"

#include "AppConfig.h"

#include <drivers/pwm.h>
#include <logging/log.h>
#include <zephyr.h>

LOG_MODULE_DECLARE(app);

LightingManager LightingManager::sLight;

CHIP_ERROR LightingManager::Init(const device * pwmDevice, uint32_t pwmChannel)
{
    // We use a gpioPin instead of a LEDWidget here because we want to use PWM
    // and other features instead of just on/off.

    mState      = kState_On;
    mLevel      = kMaxLevel;
    mPwmDevice  = pwmDevice;
    mPwmChannel = pwmChannel;

    if (!device_is_ready(mPwmDevice))
    {
        LOG_ERR("PWM device %s is not ready", mPwmDevice->name);
        return CHIP_ERROR_INCORRECT_STATE;
    }

    Set(false);
    return CHIP_NO_ERROR;
}

void LightingManager::SetCallbacks(LightingCallback_fn aActionInitiated_CB, LightingCallback_fn aActionCompleted_CB)
{
    mActionInitiated_CB = aActionInitiated_CB;
    mActionCompleted_CB = aActionCompleted_CB;
}

bool LightingManager::InitiateAction(Action_t aAction, int32_t aActor, uint8_t size, uint8_t * value)
{
    bool action_initiated = false;
    State_t new_state;

    // Initiate On/Off Action only when the previous one is complete.
    if (mState == kState_Off && aAction == ON_ACTION)
    {
        action_initiated = true;
        new_state        = kState_On;
    }
    else if (mState == kState_On && aAction == OFF_ACTION)
    {
        action_initiated = true;
        new_state        = kState_Off;
    }
    else if (aAction == LEVEL_ACTION && *value != mLevel)
    {
        action_initiated = true;
        if (*value == 0)
        {
            new_state = kState_Off;
        }
        else
        {
            new_state = kState_On;
        }
    }

    if (action_initiated)
    {
        if (mActionInitiated_CB)
        {
            mActionInitiated_CB(aAction, aActor);
        }

        if (aAction == ON_ACTION || aAction == OFF_ACTION)
        {
            Set(new_state == kState_On);
        }
        else if (aAction == LEVEL_ACTION)
        {
            SetLevel(*value);
        }

        if (mActionCompleted_CB)
        {
            mActionCompleted_CB(aAction, aActor);
        }
    }

    return action_initiated;
}

void LightingManager::SetLevel(uint8_t aLevel)
{
    LOG_INF("Setting brightness level to %u", aLevel);
    mLevel = aLevel;
    UpdateLight();
}

void LightingManager::Set(bool aOn)
{
    mState = aOn ? kState_On : kState_Off;
    UpdateLight();
}

void LightingManager::UpdateLight()
{
    constexpr uint32_t kPwmWidthUs = 20000u;
    const uint8_t level            = mState == kState_On ? mLevel : 0;
    pwm_pin_set_usec(mPwmDevice, mPwmChannel, kPwmWidthUs, kPwmWidthUs * level / kMaxLevel, 0);
}
```

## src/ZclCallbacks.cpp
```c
/*
 *
 *    Copyright (c) 2022 Project CHIP Authors
 *    All rights reserved.
 *
 *    Licensed under the Apache License, Version 2.0 (the "License");
 *    you may not use this file except in compliance with the License.
 *    You may obtain a copy of the License at
 *
 *        http://www.apache.org/licenses/LICENSE-2.0
 *
 *    Unless required by applicable law or agreed to in writing, software
 *    distributed under the License is distributed on an "AS IS" BASIS,
 *    WITHOUT WARRANTIES OR CONDITIONS OF ANY KIND, either express or implied.
 *    See the License for the specific language governing permissions and
 *    limitations under the License.
 */

#include "AppTask.h"

#include <app-common/zap-generated/ids/Attributes.h>
#include <app-common/zap-generated/ids/Clusters.h>
#include <app/ConcreteAttributePath.h>
#include <app/data-model-provider/AttributeChangeListener.h>
#include <lib/support/logging/CHIPLogging.h>

LOG_MODULE_DECLARE(app, CONFIG_CHIP_APP_LOG_LEVEL);

using namespace chip;
using namespace chip::app::Clusters;

void MatterPostAttributeChangeCallback(const chip::app::ConcreteAttributePath & attributePath, uint8_t type, uint16_t size,
                                       uint8_t * value)
{
    ClusterId clusterId     = attributePath.mClusterId;
    AttributeId attributeId = attributePath.mAttributeId;
    ChipLogProgress(Zcl, "Cluster callback: " ChipLogFormatMEI, ChipLogValueMEI(clusterId));

    if (clusterId == Identify::Id)
    {
        // Following print is used for printing single-byte value. Change it for printing non-single-byte values.
        ChipLogProgress(Zcl, "Identify attribute ID: " ChipLogFormatMEI " Type: %u Value: %u, length %u",
                        ChipLogValueMEI(attributeId), type, *value, size);
    }
}

void MatterCodegenPostAttributeChangeCallback(const chip::app::ConcreteAttributePath & path,
                                              chip::app::DataModel::AttributeChangeType type)
{
    // Stub for now, logic remains in MatterPostAttributeChangeCallback for Ember clusters.
}

/** @brief OnOff Cluster Init
 *
 * This function is called when a specific cluster is initialized. It gives the
 * application an opportunity to take care of cluster initialization procedures.
 * It is called exactly once for each endpoint where cluster is present.
 *
 * @param endpoint   Ver.: always
 *
 */
void emberAfOnOffClusterInitCallback(EndpointId endpoint)
{
    GetAppTask().UpdateClusterState();
}
```
